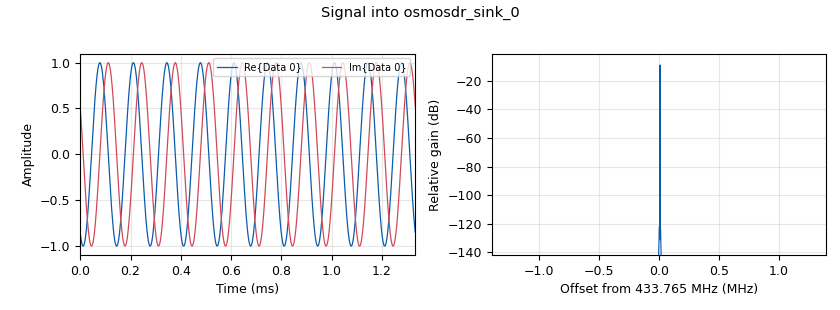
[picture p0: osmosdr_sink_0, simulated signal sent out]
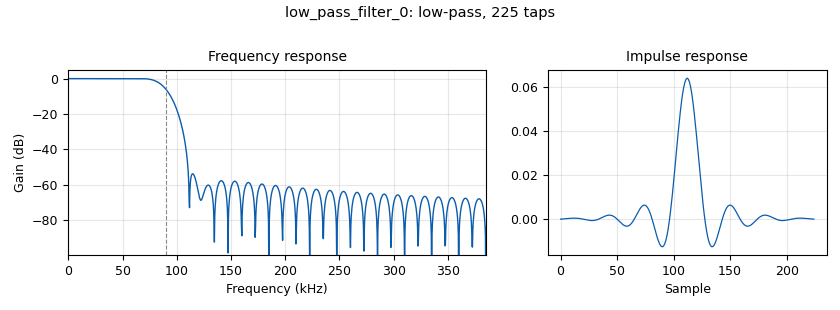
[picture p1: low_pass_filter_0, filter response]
options:
  parameters:
    generate_options: qt_gui
    id: roll_jam
    output_language: python
    title: roll_jam
  states: {}

blocks:
- name: center_freq
  id: variable
  parameters:
    value: 433.92E6
  states: {}
- name: fft_size
  id: variable
  parameters:
    value: '4096'
  states: {}
- name: freq_offset
  id: variable
  parameters:
    value: 155E3
  states: {}
- name: samp_rate
  id: variable
  parameters:
    value: 2.8E6
  states: {}
- name: analog_sig_source_x_0
  id: analog_sig_source_x
  parameters:
    amp: '1'
    freq: '7500'
    offset: '0'
    phase: '0'
    samp_rate: samp_rate
    type: complex
    waveform: analog.GR_COS_WAVE
  states: {}
- name: blocks_file_sink_0
  id: blocks_file_sink
  parameters:
    file: /tmp/roll_jam
    type: complex
  states: {}
- name: blocks_file_source_0
  id: blocks_file_source
  parameters:
    file: /tmp/roll_jam
    repeat: 'True'
    type: complex
  states: {state: disabled}
- name: low_pass_filter_0
  id: low_pass_filter
  parameters:
    cutoff_freq: 90E3
    decim: '1'
    gain: '1'
    samp_rate: samp_rate
    type: fir_filter_ccf
    width: 30E3
    win: window.WIN_HAMMING
  states: {}
- name: low_pass_filter_1
  id: low_pass_filter
  parameters:
    cutoff_freq: 90E3
    decim: '1'
    gain: '1'
    samp_rate: samp_rate
    type: fir_filter_ccf
    width: 30E3
    win: window.WIN_HAMMING
  states: {}
- name: osmosdr_sink_0
  id: osmosdr_sink
  parameters:
    args: '"bladerf=0"'
    bb_gain0: '20'
    freq0: center_freq-freq_offset
    gain0: '66'
    if_gain0: '20'
    sample_rate: samp_rate
    sync: sync
    type: fc32
  states: {}
- name: qtgui_sink_x_0
  id: qtgui_sink_x
  parameters:
    bw: samp_rate
    fc: '0'
    fftsize: fft_size
    type: complex
  states: {}
- name: rtlsdr_source_0
  id: rtlsdr_source
  parameters:
    bb_gain0: '20'
    freq0: center_freq
    gain0: '40'
    gain_mode0: 'False'
    if_gain0: '20'
    sample_rate: samp_rate
    sync: sync
    type: fc32
  states: {}

connections:
- [analog_sig_source_x_0, '0', low_pass_filter_1, '0']
- [blocks_file_source_0, '0', osmosdr_sink_0, '0']
- [low_pass_filter_0, '0', blocks_file_sink_0, '0']
- [low_pass_filter_0, '0', qtgui_sink_x_0, '0']
- [low_pass_filter_1, '0', osmosdr_sink_0, '0']
- [rtlsdr_source_0, '0', low_pass_filter_0, '0']

metadata:
  file_format: 1
